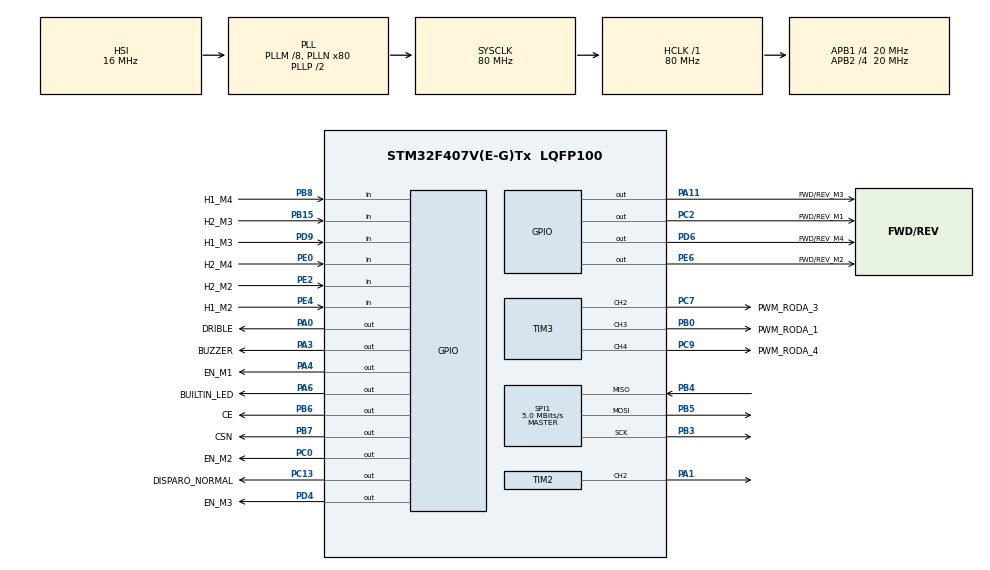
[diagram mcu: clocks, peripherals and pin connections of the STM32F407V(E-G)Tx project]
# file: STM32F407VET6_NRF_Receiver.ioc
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Mcu.Family=STM32F4
Mcu.Name=STM32F407V(E-G)Tx
Mcu.Package=LQFP100
NVIC.PriorityGroup=NVIC_PRIORITYGROUP_4
PA0-WKUP.GPIO_Label=DRIBLE
PA0-WKUP.Signal=GPIO_Output
PA1.Signal=S_TIM2_CH2
PA11.GPIO_Label=FWD/REV_M3
PA11.Signal=GPIO_Output
PA3.GPIO_Label=BUZZER
PA3.Signal=GPIO_Output
PA4.GPIO_Label=EN_M1
PA4.Signal=GPIO_Output
PA6.GPIO_Label=BUILTIN_LED
PA6.Signal=GPIO_Output
PB0.GPIO_Label=PWM_RODA_1
PB0.Signal=S_TIM3_CH3
PB15.GPIO_Label=H2_M3
PB15.Signal=GPIO_Input
PB3.Mode=Full_Duplex_Master
PB3.Signal=SPI1_SCK
PB4.Mode=Full_Duplex_Master
PB4.Signal=SPI1_MISO
PB5.Mode=Full_Duplex_Master
PB5.Signal=SPI1_MOSI
PB6.GPIO_Label=CE
PB6.GPIO_Speed=GPIO_SPEED_FREQ_HIGH
PB6.PinState=GPIO_PIN_SET
PB6.Signal=GPIO_Output
PB7.GPIO_Label=CSN
PB7.GPIO_Speed=GPIO_SPEED_FREQ_HIGH
PB7.PinState=GPIO_PIN_SET
PB7.Signal=GPIO_Output
PB8.GPIO_Label=H1_M4
PB8.Signal=GPIO_Input
PC0.GPIO_Label=EN_M2
PC0.Signal=GPIO_Output
PC13-ANTI_TAMP.GPIO_Label=DISPARO_NORMAL
PC13-ANTI_TAMP.Signal=GPIO_Output
PC2.GPIO_Label=FWD/REV_M1
PC2.Signal=GPIO_Output
PC7.GPIO_Label=PWM_RODA_3
PC7.Signal=S_TIM3_CH2
PC9.GPIO_Label=PWM_RODA_4
PC9.Signal=S_TIM3_CH4
PD4.GPIO_Label=EN_M3
PD4.Signal=GPIO_Output
PD6.GPIO_Label=FWD/REV_M4
PD6.Signal=GPIO_Output
PD9.GPIO_Label=H1_M3
PD9.Signal=GPIO_Input
PE0.GPIO_Label=H2_M4
PE0.Signal=GPIO_Input
PE2.GPIO_Label=H2_M2
PE2.Signal=GPIO_Input
PE4.GPIO_Label=H1_M2
PE4.Signal=GPIO_Input
PE6.GPIO_Label=FWD/REV_M2
PE6.Signal=GPIO_Output
PH0-OSC_IN.Mode=HSE-External-Oscillator
PH0-OSC_IN.Signal=RCC_OSC_IN
PH1-OSC_OUT.Mode=HSE-External-Oscillator
PH1-OSC_OUT.Signal=RCC_OSC_OUT
ProjectManager.HeapSize=0x200
ProjectManager.StackSize=0x400
ProjectManager.TargetToolchain=STM32CubeIDE
RCC.48MHZClocksFreq_Value=40000000
RCC.AHBFreq_Value=80000000
RCC.APB1CLKDivider=RCC_HCLK_DIV4
RCC.APB1Freq_Value=20000000
RCC.APB1TimFreq_Value=40000000
RCC.APB2CLKDivider=RCC_HCLK_DIV4
RCC.APB2Freq_Value=20000000
RCC.APB2TimFreq_Value=40000000
RCC.CortexFreq_Value=80000000
RCC.HCLKFreq_Value=80000000
RCC.HSE_VALUE=25000000
RCC.HSI_VALUE=16000000
RCC.LSE_VALUE=32768
RCC.PLLM=8
RCC.PLLN=80
RCC.SYSCLKFreq_VALUE=80000000
RCC.SYSCLKSource=RCC_SYSCLKSOURCE_PLLCLK
RCC.VCOOutputFreq_Value=160000000
SH.S_TIM2_CH2.0=TIM2_CH2,PWM Generation2 CH2
SH.S_TIM3_CH2.0=TIM3_CH2,PWM Generation2 CH2
SH.S_TIM3_CH3.0=TIM3_CH3,PWM Generation3 CH3
SH.S_TIM3_CH4.0=TIM3_CH4,PWM Generation4 CH4
SPI1.BaudRatePrescaler=SPI_BAUDRATEPRESCALER_4
SPI1.CalculateBaudRate=5.0 MBits/s
SPI1.Direction=SPI_DIRECTION_2LINES
SPI1.Mode=SPI_MODE_MASTER
SPI1.VirtualType=VM_MASTER
TIM2.Channel-PWM\ Generation2\ CH2=TIM_CHANNEL_2
TIM3.Channel-PWM\ Generation2\ CH2=TIM_CHANNEL_2
TIM3.Channel-PWM\ Generation3\ CH3=TIM_CHANNEL_3
TIM3.Channel-PWM\ Generation4\ CH4=TIM_CHANNEL_4
board=custom

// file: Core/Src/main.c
/* USER CODE BEGIN Header */
/**
  ******************************************************************************
  * @file           : main.c
  * @brief          : Main program body
  ******************************************************************************
  * @attention
  *
  * Copyright (c) 2024 STMicroelectronics.
  * All rights reserved.
  *
  * This software is licensed under terms that can be found in the LICENSE file
  * in the root directory of this software component.
  * If no LICENSE file comes with this software, it is provided AS-IS.
  *
  ******************************************************************************
  */
/* USER CODE END Header */
#include "main.h"

/* USER CODE BEGIN Includes */
#include <string.h>
/* USER CODE END Includes */

/* USER CODE BEGIN PTD */
typedef struct {
	char control;
	float vx, vy, vw;
	char solenoidPower;
	uint16_t crc;
} ControlPacket;
/* USER CODE END PTD */

/* USER CODE BEGIN PD */
#define DATA_PIPE_NUMBER 1
/* USER CODE END PD */

SPI_HandleTypeDef hspi1;

TIM_HandleTypeDef htim2;
TIM_HandleTypeDef htim3;

void SystemClock_Config(void);
static void MX_GPIO_Init(void);
static void MX_SPI1_Init(void);
static void MX_TIM3_Init(void);
static void MX_TIM2_Init(void);

/* USER CODE BEGIN 0 */
uint8_t TxAdress[] = {'A','S','U','R','T'};

uint8_t buffer[sizeof(ControlPacket)];
ControlPacket controlPacket;

/* USER CODE END 0 */

int main(void)
{

  /* MCU Configuration--------------------------------------------------------*/

  /* Reset of all peripherals, Initializes the Flash interface and the Systick. */
  HAL_Init();

  /* Configure the system clock */
  SystemClock_Config();

  /* Initialize all configured peripherals */
  MX_GPIO_Init();
  MX_SPI1_Init();
  MX_TIM3_Init();
  MX_TIM2_Init();
  /* USER CODE BEGIN 2 */
  HAL_NRF24_init();
  HAL_NRF24_RXModeConfig(TxAdress,90);
  /* USER CODE END 2 */

  /* Infinite loop */
  /* USER CODE BEGIN WHILE */
  while (1)
  {
	  if(HAL_NRF24_isDataAvailable(DATA_PIPE_NUMBER) == TRUE)
	  {
	  		HAL_NRF24_receiveData(buffer, sizeof(ControlPacket));
	  		memcpy(&controlPacket, buffer, sizeof(ControlPacket));
	  }
    /* USER CODE END WHILE */

  }
}

void SystemClock_Config(void)
{
  RCC_OscInitTypeDef RCC_OscInitStruct = {0};
  RCC_ClkInitTypeDef RCC_ClkInitStruct = {0};

  /** Configure the main internal regulator output voltage
  */
  __HAL_RCC_PWR_CLK_ENABLE();
  __HAL_PWR_VOLTAGESCALING_CONFIG(PWR_REGULATOR_VOLTAGE_SCALE1);

  /** Initializes the RCC Oscillators according to the specified parameters
  * in the RCC_OscInitTypeDef structure.
  */
  RCC_OscInitStruct.OscillatorType = RCC_OSCILLATORTYPE_HSI;
  RCC_OscInitStruct.HSIState = RCC_HSI_ON;
  RCC_OscInitStruct.HSICalibrationValue = RCC_HSICALIBRATION_DEFAULT;
  RCC_OscInitStruct.PLL.PLLState = RCC_PLL_ON;
  RCC_OscInitStruct.PLL.PLLSource = RCC_PLLSOURCE_HSI;
  RCC_OscInitStruct.PLL.PLLM = 8;
  RCC_OscInitStruct.PLL.PLLN = 80;
  RCC_OscInitStruct.PLL.PLLP = RCC_PLLP_DIV2;
  RCC_OscInitStruct.PLL.PLLQ = 4;
  if (HAL_RCC_OscConfig(&RCC_OscInitStruct) != HAL_OK)
  {
    Error_Handler();
  }

  /** Initializes the CPU, AHB and APB buses clocks
  */
  RCC_ClkInitStruct.ClockType = RCC_CLOCKTYPE_HCLK|RCC_CLOCKTYPE_SYSCLK
                              |RCC_CLOCKTYPE_PCLK1|RCC_CLOCKTYPE_PCLK2;
  RCC_ClkInitStruct.SYSCLKSource = RCC_SYSCLKSOURCE_PLLCLK;
  RCC_ClkInitStruct.AHBCLKDivider = RCC_SYSCLK_DIV1;
  RCC_ClkInitStruct.APB1CLKDivider = RCC_HCLK_DIV4;
  RCC_ClkInitStruct.APB2CLKDivider = RCC_HCLK_DIV4;

  if (HAL_RCC_ClockConfig(&RCC_ClkInitStruct, FLASH_LATENCY_2) != HAL_OK)
  {
    Error_Handler();
  }
}

static void MX_SPI1_Init(void)
{

  /* SPI1 parameter configuration*/
  hspi1.Instance = SPI1;
  hspi1.Init.Mode = SPI_MODE_MASTER;
  hspi1.Init.Direction = SPI_DIRECTION_2LINES;
  hspi1.Init.DataSize = SPI_DATASIZE_8BIT;
  hspi1.Init.CLKPolarity = SPI_POLARITY_LOW;
  hspi1.Init.CLKPhase = SPI_PHASE_1EDGE;
  hspi1.Init.NSS = SPI_NSS_SOFT;
  hspi1.Init.BaudRatePrescaler = SPI_BAUDRATEPRESCALER_4;
  hspi1.Init.FirstBit = SPI_FIRSTBIT_MSB;
  hspi1.Init.TIMode = SPI_TIMODE_DISABLE;
  hspi1.Init.CRCCalculation = SPI_CRCCALCULATION_DISABLE;
  hspi1.Init.CRCPolynomial = 10;
  if (HAL_SPI_Init(&hspi1) != HAL_OK)
  {
    Error_Handler();
  }

}

static void MX_TIM2_Init(void)
{

  TIM_MasterConfigTypeDef sMasterConfig = {0};
  TIM_OC_InitTypeDef sConfigOC = {0};

  htim2.Instance = TIM2;
  htim2.Init.Prescaler = 0;
  htim2.Init.CounterMode = TIM_COUNTERMODE_UP;
  htim2.Init.Period = 4294967295;
  htim2.Init.ClockDivision = TIM_CLOCKDIVISION_DIV1;
  htim2.Init.AutoReloadPreload = TIM_AUTORELOAD_PRELOAD_DISABLE;
  if (HAL_TIM_PWM_Init(&htim2) != HAL_OK)
  {
    Error_Handler();
  }
  sMasterConfig.MasterOutputTrigger = TIM_TRGO_RESET;
  sMasterConfig.MasterSlaveMode = TIM_MASTERSLAVEMODE_DISABLE;
  if (HAL_TIMEx_MasterConfigSynchronization(&htim2, &sMasterConfig) != HAL_OK)
  {
    Error_Handler();
  }
  sConfigOC.OCMode = TIM_OCMODE_PWM1;
  sConfigOC.Pulse = 0;
  sConfigOC.OCPolarity = TIM_OCPOLARITY_HIGH;
  sConfigOC.OCFastMode = TIM_OCFAST_DISABLE;
  if (HAL_TIM_PWM_ConfigChannel(&htim2, &sConfigOC, TIM_CHANNEL_2) != HAL_OK)
  {
    Error_Handler();
  }
  HAL_TIM_MspPostInit(&htim2);

}

static void MX_TIM3_Init(void)
{

  TIM_MasterConfigTypeDef sMasterConfig = {0};
  TIM_OC_InitTypeDef sConfigOC = {0};

  htim3.Instance = TIM3;
  htim3.Init.Prescaler = 0;
  htim3.Init.CounterMode = TIM_COUNTERMODE_UP;
  htim3.Init.Period = 65535;
  htim3.Init.ClockDivision = TIM_CLOCKDIVISION_DIV1;
  htim3.Init.AutoReloadPreload = TIM_AUTORELOAD_PRELOAD_DISABLE;
  if (HAL_TIM_PWM_Init(&htim3) != HAL_OK)
  {
    Error_Handler();
  }
  sMasterConfig.MasterOutputTrigger = TIM_TRGO_RESET;
  sMasterConfig.MasterSlaveMode = TIM_MASTERSLAVEMODE_DISABLE;
  if (HAL_TIMEx_MasterConfigSynchronization(&htim3, &sMasterConfig) != HAL_OK)
  {
    Error_Handler();
  }
  sConfigOC.OCMode = TIM_OCMODE_PWM1;
  sConfigOC.Pulse = 0;
  sConfigOC.OCPolarity = TIM_OCPOLARITY_HIGH;
  sConfigOC.OCFastMode = TIM_OCFAST_DISABLE;
  if (HAL_TIM_PWM_ConfigChannel(&htim3, &sConfigOC, TIM_CHANNEL_2) != HAL_OK)
  {
    Error_Handler();
  }
  if (HAL_TIM_PWM_ConfigChannel(&htim3, &sConfigOC, TIM_CHANNEL_3) != HAL_OK)
  {
    Error_Handler();
  }
  if (HAL_TIM_PWM_ConfigChannel(&htim3, &sConfigOC, TIM_CHANNEL_4) != HAL_OK)
  {
    Error_Handler();
  }
  HAL_TIM_MspPostInit(&htim3);

}

static void MX_GPIO_Init(void)
{
  GPIO_InitTypeDef GPIO_InitStruct = {0};

  /* GPIO Ports Clock Enable */
  __HAL_RCC_GPIOE_CLK_ENABLE();
  __HAL_RCC_GPIOC_CLK_ENABLE();
  __HAL_RCC_GPIOH_CLK_ENABLE();
  __HAL_RCC_GPIOA_CLK_ENABLE();
  __HAL_RCC_GPIOB_CLK_ENABLE();
  __HAL_RCC_GPIOD_CLK_ENABLE();

  /*Configure GPIO pin Output Level */
  HAL_GPIO_WritePin(FWD_REV_M2_GPIO_Port, FWD_REV_M2_Pin, GPIO_PIN_RESET);

  /*Configure GPIO pin Output Level */
  HAL_GPIO_WritePin(GPIOC, DISPARO_NORMAL_Pin|EN_M2_Pin|FWD_REV_M1_Pin, GPIO_PIN_RESET);

  /*Configure GPIO pin Output Level */
  HAL_GPIO_WritePin(GPIOA, DRIBLE_Pin|BUZZER_Pin|EN_M1_Pin|BUILTIN_LED_Pin
                          |FWD_REV_M3_Pin, GPIO_PIN_RESET);

  /*Configure GPIO pin Output Level */
  HAL_GPIO_WritePin(GPIOD, EN_M3_Pin|FWD_REV_M4_Pin, GPIO_PIN_RESET);

  /*Configure GPIO pin Output Level */
  HAL_GPIO_WritePin(GPIOB, CE_Pin|CSN_Pin, GPIO_PIN_SET);

  /*Configure GPIO pins : H2_M2_Pin H1_M2_Pin H2_M4_Pin */
  GPIO_InitStruct.Pin = H2_M2_Pin|H1_M2_Pin|H2_M4_Pin;
  GPIO_InitStruct.Mode = GPIO_MODE_INPUT;
  GPIO_InitStruct.Pull = GPIO_NOPULL;
  HAL_GPIO_Init(GPIOE, &GPIO_InitStruct);

  /*Configure GPIO pin : FWD_REV_M2_Pin */
  GPIO_InitStruct.Pin = FWD_REV_M2_Pin;
  GPIO_InitStruct.Mode = GPIO_MODE_OUTPUT_PP;
  GPIO_InitStruct.Pull = GPIO_NOPULL;
  GPIO_InitStruct.Speed = GPIO_SPEED_FREQ_LOW;
  HAL_GPIO_Init(FWD_REV_M2_GPIO_Port, &GPIO_InitStruct);

  /*Configure GPIO pins : DISPARO_NORMAL_Pin EN_M2_Pin FWD_REV_M1_Pin */
  GPIO_InitStruct.Pin = DISPARO_NORMAL_Pin|EN_M2_Pin|FWD_REV_M1_Pin;
  GPIO_InitStruct.Mode = GPIO_MODE_OUTPUT_PP;
  GPIO_InitStruct.Pull = GPIO_NOPULL;
  GPIO_InitStruct.Speed = GPIO_SPEED_FREQ_LOW;
  HAL_GPIO_Init(GPIOC, &GPIO_InitStruct);

  /*Configure GPIO pins : DRIBLE_Pin BUZZER_Pin EN_M1_Pin BUILTIN_LED_Pin
                           FWD_REV_M3_Pin */
  GPIO_InitStruct.Pin = DRIBLE_Pin|BUZZER_Pin|EN_M1_Pin|BUILTIN_LED_Pin
                          |FWD_REV_M3_Pin;
  GPIO_InitStruct.Mode = GPIO_MODE_OUTPUT_PP;
  GPIO_InitStruct.Pull = GPIO_NOPULL;
  GPIO_InitStruct.Speed = GPIO_SPEED_FREQ_LOW;
  HAL_GPIO_Init(GPIOA, &GPIO_InitStruct);

  /*Configure GPIO pins : H2_M3_Pin H1_M4_Pin */
  GPIO_InitStruct.Pin = H2_M3_Pin|H1_M4_Pin;
  GPIO_InitStruct.Mode = GPIO_MODE_INPUT;
  GPIO_InitStruct.Pull = GPIO_NOPULL;
  HAL_GPIO_Init(GPIOB, &GPIO_InitStruct);

  /*Configure GPIO pin : H1_M3_Pin */
  GPIO_InitStruct.Pin = H1_M3_Pin;
  GPIO_InitStruct.Mode = GPIO_MODE_INPUT;
  GPIO_InitStruct.Pull = GPIO_NOPULL;
  HAL_GPIO_Init(H1_M3_GPIO_Port, &GPIO_InitStruct);

  /*Configure GPIO pins : EN_M3_Pin FWD_REV_M4_Pin */
  GPIO_InitStruct.Pin = EN_M3_Pin|FWD_REV_M4_Pin;
  GPIO_InitStruct.Mode = GPIO_MODE_OUTPUT_PP;
  GPIO_InitStruct.Pull = GPIO_NOPULL;
  GPIO_InitStruct.Speed = GPIO_SPEED_FREQ_LOW;
  HAL_GPIO_Init(GPIOD, &GPIO_InitStruct);

  /*Configure GPIO pins : CE_Pin CSN_Pin */
  GPIO_InitStruct.Pin = CE_Pin|CSN_Pin;
  GPIO_InitStruct.Mode = GPIO_MODE_OUTPUT_PP;
  GPIO_InitStruct.Pull = GPIO_NOPULL;
  GPIO_InitStruct.Speed = GPIO_SPEED_FREQ_HIGH;
  HAL_GPIO_Init(GPIOB, &GPIO_InitStruct);

}

void Error_Handler(void)
{
  __disable_irq();
  while (1)
  {
  }
}
